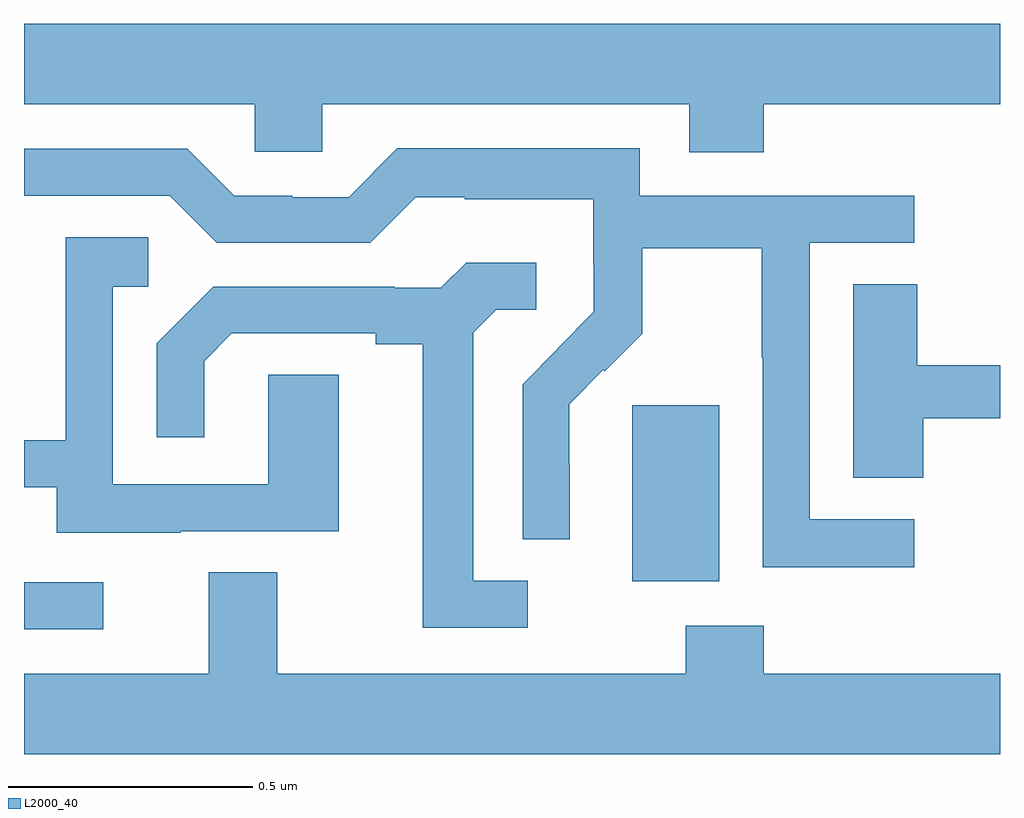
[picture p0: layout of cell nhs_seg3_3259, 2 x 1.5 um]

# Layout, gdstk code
import gdstk
lib = gdstk.Library(unit=1e-6, precision=1e-09)
def R(c, l, rs):  # rectangles x0, y0, x1, y1
    for r in rs: c.add(gdstk.rectangle(r[:2], r[2:], *l))
def P(c, l, *ps):  # polygons
    for p in ps: c.add(gdstk.Polygon(p, *l))
L2000_40 = (2000, 40)

nhs_seg3_3259 = lib.new_cell('nhs_seg3_3259')
R(nhs_seg3_3259, L2000_40, [(151,715.824,151.162,715.92), (152.246,715.922,152.425,716.283)])
P(nhs_seg3_3259, L2000_40, [(151,716.9),(151.473,716.9),(151.473,716.802),(151.611,716.802),(151.611,716.9),(152.363,716.9),(152.363,716.801),(152.516,716.801),(152.516,716.9),(153,716.9),(153,717.064),(151,717.064)],
  [(152.824,716.049),(152.61,716.049),(152.61,716.616),(152.824,716.616),(152.824,716.712),(152.262,716.712),(152.262,716.809),(151.765,716.809),(151.665,716.709),(151.55,716.709),(151.55,716.712),(151.431,716.712),(151.335,716.808),(151,716.808),(151,716.712),(151.299,716.712),(151.395,716.616),(151.71,716.616),(151.803,716.709),(151.903,716.709),(151.903,716.705),(152.166,716.705),(152.166,716.571),(152.168,716.571),(152.168,716.474),(152.094,716.4),(152.095,716.399),(152.022,716.326),(152.022,716.008),(152.118,716.008),(152.118,716.162),(152.117,716.162),(152.117,716.285),(152.187,716.355),(152.19,716.352),(152.267,716.429),(152.267,716.604),(152.512,716.604),(152.512,716.38),(152.514,716.38),(152.514,715.951),(152.824,715.951)],
  [(151.321,716.025),(151.645,716.025),(151.645,716.345),(151.5,716.345),(151.5,716.121),(151.182,716.121),(151.182,716.526),(151.255,716.526),(151.255,716.627),(151.086,716.627),(151.086,716.211),(151,716.211),(151,716.115),(151.067,716.115),(151.067,716.021),(151.321,716.021)],
  [(152.032,715.923),(151.921,715.923),(151.921,716.431),(151.968,716.478),(152.05,716.478),(152.05,716.575),(151.906,716.575),(151.854,716.523),(151.76,716.523),(151.76,716.526),(151.388,716.526),(151.272,716.41),(151.272,716.217),(151.369,716.217),(151.369,716.373),(151.426,716.43),(151.721,716.43),(151.721,716.408),(151.817,716.408),(151.817,715.827),(152.032,715.827)],
  [(152.843,716.256),(153,716.256),(153,716.365),(152.83,716.365),(152.83,716.531),(152.699,716.531),(152.699,716.134),(152.843,716.134)],
  [(153,715.732),(152.516,715.732),(152.516,715.831),(152.356,715.831),(152.356,715.732),(151.519,715.732),(151.519,715.94),(151.379,715.94),(151.379,715.732),(151,715.732),(151,715.568),(153,715.568)])

lib.write_gds('nhs_seg3_3259.gds')
